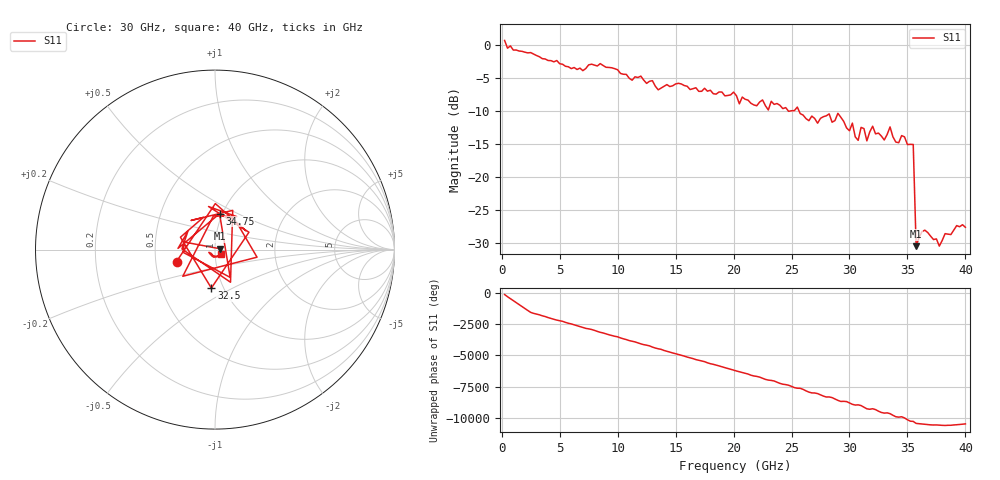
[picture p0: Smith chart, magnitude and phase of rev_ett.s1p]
!Created with skrf (http://scikit-rf.org).
# GHz S RI R 50.0
!freq ReS11 ImS11
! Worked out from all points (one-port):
!   160 points, 250 MHz to 40 GHz, reference 50 ohm
!   lowest |S11| = -30.5 dB at 35.75 GHz (marker M1), VSWR 1.06, Z = 53 + j0.463 ohm
!   |S11| at or under -10 dB: 24.73585 GHz to 24.83755 GHz (101.7 MHz wide, 0.41 % of centre); 25.65 GHz to end of sweep
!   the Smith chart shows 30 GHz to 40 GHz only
!   S11 on the Smith chart (normalised r, x): 30 GHz: 0.64, -0.09; 32.5 GHz: 0.88, -0.39; 34.75 GHz: 0.97, +0.40; 40 GHz: 1.07, -0.05
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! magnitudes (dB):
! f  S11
! 250 MHz  0.7
! 5.25 GHz  -2.9
! 10.25 GHz  -4.3
! 13.5 GHz  -6.8
! 15.25 GHz  -5.8
! 20.25 GHz  -7.7
! 20.5 GHz  -8.9
! 25.25 GHz  -9.9
! 27.25 GHz  -11.8
! 29 GHz  -10.3
! 30 GHz  -13.0
! 30.25 GHz  -11.8
! 30.75 GHz  -14.4
! 31 GHz  -12.5
! 31.5 GHz  -14.5
! 32 GHz  -12.3
! 32.5 GHz  -13.3
! 33 GHz  -14.4
! 33.5 GHz  -12.4
! 34 GHz  -14.7
! 34.75 GHz  -13.9
! 35.25 GHz  -15.0
! 35.5 GHz  -15.1
! 35.75 GHz  -30.5
! 36.5 GHz  -28.1
! 37.75 GHz  -30.5
! 38.25 GHz  -28.6
! 40 GHz  -27.6
